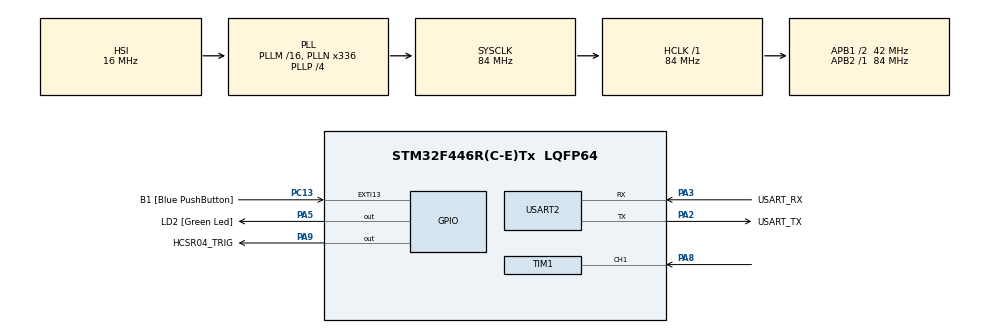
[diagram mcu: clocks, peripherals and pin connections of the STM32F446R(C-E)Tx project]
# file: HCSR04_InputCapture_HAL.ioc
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Mcu.Family=STM32F4
Mcu.Name=STM32F446R(C-E)Tx
Mcu.Package=LQFP64
NVIC.PriorityGroup=NVIC_PRIORITYGROUP_0
NVIC.TIM1_CC_IRQn=true\:0\:0\:false\:false\:true\:true\:true\:true
PA13.GPIO_Label=TMS
PA13.Mode=Serial_Wire
PA13.Signal=SYS_JTMS-SWDIO
PA14.GPIO_Label=TCK
PA14.Mode=Serial_Wire
PA14.Signal=SYS_JTCK-SWCLK
PA2.GPIO_Label=USART_TX
PA2.Mode=Asynchronous
PA2.Signal=USART2_TX
PA3.GPIO_Label=USART_RX
PA3.Mode=Asynchronous
PA3.Signal=USART2_RX
PA5.GPIO_Label=LD2 [Green Led]
PA5.Signal=GPIO_Output
PA8.Signal=S_TIM1_CH1
PA9.GPIO_Label=HCSR04_TRIG
PA9.Signal=GPIO_Output
PB3.GPIO_Label=SWO
PB3.Signal=SYS_JTDO-SWO
PC13.GPIO_Label=B1 [Blue PushButton]
PC13.GPIO_ModeDefaultEXTI=GPIO_MODE_IT_FALLING
PC13.Signal=GPXTI13
PC14-OSC32_IN.Mode=LSE-External-Oscillator
PC14-OSC32_IN.Signal=RCC_OSC32_IN
PC15-OSC32_OUT.Mode=LSE-External-Oscillator
PC15-OSC32_OUT.Signal=RCC_OSC32_OUT
PH0-OSC_IN.Mode=HSE-External-Oscillator
PH0-OSC_IN.Signal=RCC_OSC_IN
PH1-OSC_OUT.Mode=HSE-External-Oscillator
PH1-OSC_OUT.Signal=RCC_OSC_OUT
ProjectManager.HeapSize=0x200
ProjectManager.StackSize=0x400
ProjectManager.TargetToolchain=STM32CubeIDE
RCC.48MHZClocksFreq_Value=84000000
RCC.AHBFreq_Value=84000000
RCC.APB1CLKDivider=RCC_HCLK_DIV2
RCC.APB1Freq_Value=42000000
RCC.APB1TimFreq_Value=84000000
RCC.APB2Freq_Value=84000000
RCC.APB2TimFreq_Value=84000000
RCC.CortexFreq_Value=84000000
RCC.FLatency-AdvancedSettings=FLASH_LATENCY_2
RCC.HCLKFreq_Value=84000000
RCC.HSE_VALUE=8000000
RCC.HSI_VALUE=16000000
RCC.PLLN=336
RCC.PLLP=RCC_PLLP_DIV4
RCC.SYSCLKFreq_VALUE=84000000
RCC.SYSCLKSource=RCC_SYSCLKSOURCE_PLLCLK
RCC.USBFreq_Value=168000000
RCC.VCOOutputFreq_Value=336000000
SH.S_TIM1_CH1.0=TIM1_CH1,Input_Capture1_from_TI1
TIM1.Channel-Input_Capture1_from_TI1=TIM_CHANNEL_1
USART2.VirtualMode=VM_ASYNC
board=NUCLEO-F446RE

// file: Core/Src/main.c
/* USER CODE BEGIN Header */
/**
  *********************************************************************************************
  * @file           : main.c
  * @brief          : El proyecto mide distancia con un sensor ultrasónico HC-SR04 utilizando
  * TIM1 en modo Input Capture con interrupción. El pin TRIG se controla desde D8 / PA9,
  * mientras que la señal ECHO se mide en D7 / PA8 / TIM1_CH1.
  * El temporizador captura el instante del flanco de subida y luego el del flanco de bajada
  * de la señal ECHO. A partir de esa diferencia se calcula el ancho del pulso en microsegundos
  * y luego la distancia en centímetros.
  * El proyecto envía por USART2 el tiempo medido del pulso ECHO y la distancia calculada.
  * El objetivo didáctico es integrar GPIO, TIM Input Capture, interrupciones, medición temporal
  * por hardware y comunicación serie, mostrando cómo medir eventos externos con mayor precisión
  * que mediante polling.
  **********************************************************************************************
  * @attention
  *
  * Copyright (c) 2026 STMicroelectronics.
  * All rights reserved.
  *
  * This software is licensed under terms that can be found in the LICENSE file
  * in the root directory of this software component.
  * If no LICENSE file comes with this software, it is provided AS-IS.
  *
  ******************************************************************************
  */
/* USER CODE END Header */
#include "main.h"

/* USER CODE BEGIN Includes */
#include <stdio.h>
#include <string.h>
/* USER CODE END Includes */

/* USER CODE BEGIN PD */
#define HCSR04_TRIG_PORT       GPIOA
#define HCSR04_TRIG_PIN        GPIO_PIN_9   /* D8 / PA9 */

#define HCSR04_TIMEOUT_MS      60U
//#define UART_REPORT_PERIOD_MS  300U
#define HCSR04_MEASUREMENT_PERIOD_MS  1000U
#define TIM1_MAX_COUNT         65535UL
/* USER CODE END PD */

TIM_HandleTypeDef htim1;

UART_HandleTypeDef huart2;

/* USER CODE BEGIN PV */
static volatile uint8_t  hcsr04_capture_state = 0U;
static volatile uint8_t  hcsr04_measurement_done = 0U;

static volatile uint32_t hcsr04_rising_edge = 0U;
static volatile uint32_t hcsr04_falling_edge = 0U;
static volatile uint32_t hcsr04_pulse_us = 0U;
/* USER CODE END PV */

void SystemClock_Config(void);
static void MX_GPIO_Init(void);
static void MX_USART2_UART_Init(void);
static void MX_TIM1_Init(void);
/* USER CODE BEGIN PFP */
static void HCSR04_DelayUs(uint32_t us);
static void HCSR04_Trigger(void);
static uint8_t HCSR04_ReadDistance_IC(uint32_t *pulse_us, uint32_t *distance_x10_cm);
static void USART2_SendDistance(uint8_t valid, uint32_t pulse_us, uint32_t distance_x10_cm);
/* USER CODE END PFP */

/* USER CODE BEGIN 0 */
static void HCSR04_DelayUs(uint32_t us)
{
    uint32_t start_count;

    /*
     * TIM1 está configurado con:
     *
     * f_TIM1 = 84 MHz
     * PSC = 83
     *
     * Por lo tanto:
     * f_CNT = 1 MHz
     * 1 cuenta = 1 us
     */
    start_count = __HAL_TIM_GET_COUNTER(&htim1);

    while ((__HAL_TIM_GET_COUNTER(&htim1) - start_count) < us)
    {
        /* Espera activa */
    }
}

static void HCSR04_Trigger(void)
{
    /*
     * Reiniciar variables de medición.
     */
    hcsr04_capture_state = 0U;
    hcsr04_measurement_done = 0U;
    hcsr04_rising_edge = 0U;
    hcsr04_falling_edge = 0U;
    hcsr04_pulse_us = 0U;

    /*
     * Preparar TIM1_CH1 para capturar primero el flanco de subida.
     */
    __HAL_TIM_SET_CAPTUREPOLARITY(&htim1,
                                  TIM_CHANNEL_1,
                                  TIM_INPUTCHANNELPOLARITY_RISING);

    /*
     * Reiniciar contador antes de disparar el sensor.
     */
    __HAL_TIM_SET_COUNTER(&htim1, 0U);

    /*
     * Limpiar posible flag pendiente de captura.
     */
    __HAL_TIM_CLEAR_FLAG(&htim1, TIM_FLAG_CC1);

    /*
     * Generar pulso TRIG.
     *
     * El HC-SR04 requiere un pulso alto de al menos 10 us.
     */
    HAL_GPIO_WritePin(HCSR04_TRIG_PORT, HCSR04_TRIG_PIN, GPIO_PIN_RESET);
    HCSR04_DelayUs(2U);

    HAL_GPIO_WritePin(HCSR04_TRIG_PORT, HCSR04_TRIG_PIN, GPIO_PIN_SET);
    HCSR04_DelayUs(10U);

    HAL_GPIO_WritePin(HCSR04_TRIG_PORT, HCSR04_TRIG_PIN, GPIO_PIN_RESET);
}

static uint8_t HCSR04_ReadDistance_IC(uint32_t *pulse_us, uint32_t *distance_x10_cm)
{
    uint32_t start_tick;

    if ((pulse_us == NULL) || (distance_x10_cm == NULL))
    {
        return 0U;
    }

    /*
     * Disparar medición.
     */
    HCSR04_Trigger();

    start_tick = HAL_GetTick();

    /*
     * Esperar hasta que el Input Capture detecte:
     *
     * 1. Flanco de subida de ECHO.
     * 2. Flanco de bajada de ECHO.
     *
     * La medición termina cuando el callback coloca
     * hcsr04_measurement_done = 1.
     */
    while (hcsr04_measurement_done == 0U)
    {
        if ((HAL_GetTick() - start_tick) > HCSR04_TIMEOUT_MS)
        {
            /*
             * Timeout:
             * no llegó eco o el objeto está fuera de rango.
             */
            hcsr04_capture_state = 0U;

            __HAL_TIM_SET_CAPTUREPOLARITY(&htim1,
                                          TIM_CHANNEL_1,
                                          TIM_INPUTCHANNELPOLARITY_RISING);

            return 0U;
        }
    }

    *pulse_us = hcsr04_pulse_us;

    /*
     * Cálculo de distancia.
     *
     * Velocidad del sonido aproximada:
     * v = 343 m/s = 0,0343 cm/us
     *
     * El pulso ECHO representa ida y vuelta.
     *
     * distancia_cm = pulse_us * 0,0343 / 2
     * distancia_cm = pulse_us * 0,01715
     *
     * Para evitar float:
     *
     * distancia_x10_cm = distancia_cm * 10
     * distancia_x10_cm = pulse_us * 0,1715
     * distancia_x10_cm = pulse_us * 1715 / 10000
     *
     * Se suma 5000 para redondear.
     */
    *distance_x10_cm = (((*pulse_us) * 1715UL) + 5000UL) / 10000UL;

    return 1U;
}

void HAL_TIM_IC_CaptureCallback(TIM_HandleTypeDef *htim)
{
    uint32_t captured_value;

    if (htim->Instance == TIM1)
    {
        if (htim->Channel == HAL_TIM_ACTIVE_CHANNEL_1)
        {
            /*
             * Leer el valor capturado en TIM1_CCR1.
             */
            captured_value = HAL_TIM_ReadCapturedValue(htim, TIM_CHANNEL_1);

            /*
             * Estado 0:
             * se espera el flanco de subida de ECHO.
             */
            if (hcsr04_capture_state == 0U)
            {
                hcsr04_rising_edge = captured_value;
                hcsr04_capture_state = 1U;

                /*
                 * Una vez detectado el inicio del pulso,
                 * cambiamos la polaridad para capturar
                 * el flanco de bajada.
                 */
                __HAL_TIM_SET_CAPTUREPOLARITY(htim,
                                              TIM_CHANNEL_1,
                                              TIM_INPUTCHANNELPOLARITY_FALLING);
            }

            /*
             * Estado 1:
             * se espera el flanco de bajada de ECHO.
             */
            else if (hcsr04_capture_state == 1U)
            {
                hcsr04_falling_edge = captured_value;

                /*
                 * Calcular ancho del pulso ECHO.
                 *
                 * Caso normal:
                 * falling_edge >= rising_edge
                 *
                 * Caso con desborde:
                 * falling_edge < rising_edge
                 */
                if (hcsr04_falling_edge >= hcsr04_rising_edge)
                {
                    hcsr04_pulse_us = hcsr04_falling_edge - hcsr04_rising_edge;
                }
                else
                {
                    hcsr04_pulse_us = (TIM1_MAX_COUNT - hcsr04_rising_edge)
                                    + hcsr04_falling_edge
                                    + 1UL;
                }

                /*
                 * Marcar medición terminada.
                 */
                hcsr04_measurement_done = 1U;
                hcsr04_capture_state = 2U;

                /*
                 * Dejar el canal listo para la próxima medición:
                 * primero se capturará nuevamente flanco de subida.
                 */
                __HAL_TIM_SET_CAPTUREPOLARITY(htim,
                                              TIM_CHANNEL_1,
                                              TIM_INPUTCHANNELPOLARITY_RISING);
            }
        }
    }
}

static void USART2_SendDistance(uint8_t valid, uint32_t pulse_us, uint32_t distance_x10_cm)
{
    char tx_buffer[128];
    int len;

    if (valid != 0U)
    {
        len = snprintf(tx_buffer,
                       sizeof(tx_buffer),
                       "Echo=%5lu us | Distancia=%lu.%lu cm\r\n",
                       (unsigned long)pulse_us,
                       (unsigned long)(distance_x10_cm / 10UL),
                       (unsigned long)(distance_x10_cm % 10UL));
    }
    else
    {
        len = snprintf(tx_buffer,
                       sizeof(tx_buffer),
                       "Error: sin eco o fuera de rango\r\n");
    }

    if (len > 0)
    {
        HAL_UART_Transmit(&huart2,
                          (uint8_t *)tx_buffer,
                          (uint16_t)len,
                          HAL_MAX_DELAY);
    }
}
/* USER CODE END 0 */

int main(void)
{

  /* MCU Configuration--------------------------------------------------------*/

  /* Reset of all peripherals, Initializes the Flash interface and the Systick. */
  HAL_Init();

  /* Configure the system clock */
  SystemClock_Config();

  /* Initialize all configured peripherals */
  MX_GPIO_Init();
  MX_USART2_UART_Init();
  MX_TIM1_Init();
  /* USER CODE BEGIN 2 */
  /*
   * Iniciar TIM1 Channel 1 en modo Input Capture con interrupción.
   * ECHO está conectado a D7 / PA8 / TIM1_CH1.
   */
  HAL_TIM_IC_Start_IT(&htim1, TIM_CHANNEL_1);

  /*
   * Asegurar TRIG en bajo al inicio.
   * TRIG está conectado a D8 / PA9.
   */
  HAL_GPIO_WritePin(HCSR04_TRIG_PORT, HCSR04_TRIG_PIN, GPIO_PIN_RESET);
  /* USER CODE END 2 */

  /* Infinite loop */
  while (1)
  {

    /* USER CODE BEGIN 3 */
	 /* uint32_t pulse_us = 0U;
	  uint32_t distance_x10_cm = 0U;
	  uint8_t valid_measurement;

	  valid_measurement = HCSR04_ReadDistance_IC(&pulse_us, &distance_x10_cm);

	  USART2_SendDistance(valid_measurement, pulse_us, distance_x10_cm);

	  HAL_Delay(UART_REPORT_PERIOD_MS);*/

	  static uint32_t last_measurement_tick = 0U;
	      uint32_t current_tick = HAL_GetTick();

	      if ((current_tick - last_measurement_tick) >= HCSR04_MEASUREMENT_PERIOD_MS)
	      {
	          uint32_t pulse_us = 0U;
	          uint32_t distance_x10_cm = 0U;
	          uint8_t valid_measurement;

	          last_measurement_tick = current_tick;

	          valid_measurement = HCSR04_ReadDistance_IC(&pulse_us, &distance_x10_cm);

	          USART2_SendDistance(valid_measurement, pulse_us, distance_x10_cm);
	      }

  }
  /* USER CODE END 3 */
}

void SystemClock_Config(void)
{
  RCC_OscInitTypeDef RCC_OscInitStruct = {0};
  RCC_ClkInitTypeDef RCC_ClkInitStruct = {0};

  /** Configure the main internal regulator output voltage
  */
  __HAL_RCC_PWR_CLK_ENABLE();
  __HAL_PWR_VOLTAGESCALING_CONFIG(PWR_REGULATOR_VOLTAGE_SCALE3);

  /** Initializes the RCC Oscillators according to the specified parameters
  * in the RCC_OscInitTypeDef structure.
  */
  RCC_OscInitStruct.OscillatorType = RCC_OSCILLATORTYPE_HSI;
  RCC_OscInitStruct.HSIState = RCC_HSI_ON;
  RCC_OscInitStruct.HSICalibrationValue = RCC_HSICALIBRATION_DEFAULT;
  RCC_OscInitStruct.PLL.PLLState = RCC_PLL_ON;
  RCC_OscInitStruct.PLL.PLLSource = RCC_PLLSOURCE_HSI;
  RCC_OscInitStruct.PLL.PLLM = 16;
  RCC_OscInitStruct.PLL.PLLN = 336;
  RCC_OscInitStruct.PLL.PLLP = RCC_PLLP_DIV4;
  RCC_OscInitStruct.PLL.PLLQ = 2;
  RCC_OscInitStruct.PLL.PLLR = 2;
  if (HAL_RCC_OscConfig(&RCC_OscInitStruct) != HAL_OK)
  {
    Error_Handler();
  }

  /** Initializes the CPU, AHB and APB buses clocks
  */
  RCC_ClkInitStruct.ClockType = RCC_CLOCKTYPE_HCLK|RCC_CLOCKTYPE_SYSCLK
                              |RCC_CLOCKTYPE_PCLK1|RCC_CLOCKTYPE_PCLK2;
  RCC_ClkInitStruct.SYSCLKSource = RCC_SYSCLKSOURCE_PLLCLK;
  RCC_ClkInitStruct.AHBCLKDivider = RCC_SYSCLK_DIV1;
  RCC_ClkInitStruct.APB1CLKDivider = RCC_HCLK_DIV2;
  RCC_ClkInitStruct.APB2CLKDivider = RCC_HCLK_DIV1;

  if (HAL_RCC_ClockConfig(&RCC_ClkInitStruct, FLASH_LATENCY_2) != HAL_OK)
  {
    Error_Handler();
  }
}

static void MX_TIM1_Init(void)
{

  TIM_MasterConfigTypeDef sMasterConfig = {0};
  TIM_IC_InitTypeDef sConfigIC = {0};

  htim1.Instance = TIM1;
  htim1.Init.Prescaler = 83;
  htim1.Init.CounterMode = TIM_COUNTERMODE_UP;
  htim1.Init.Period = 65535;
  htim1.Init.ClockDivision = TIM_CLOCKDIVISION_DIV1;
  htim1.Init.RepetitionCounter = 0;
  htim1.Init.AutoReloadPreload = TIM_AUTORELOAD_PRELOAD_DISABLE;
  if (HAL_TIM_IC_Init(&htim1) != HAL_OK)
  {
    Error_Handler();
  }
  sMasterConfig.MasterOutputTrigger = TIM_TRGO_RESET;
  sMasterConfig.MasterSlaveMode = TIM_MASTERSLAVEMODE_DISABLE;
  if (HAL_TIMEx_MasterConfigSynchronization(&htim1, &sMasterConfig) != HAL_OK)
  {
    Error_Handler();
  }
  sConfigIC.ICPolarity = TIM_INPUTCHANNELPOLARITY_RISING;
  sConfigIC.ICSelection = TIM_ICSELECTION_DIRECTTI;
  sConfigIC.ICPrescaler = TIM_ICPSC_DIV1;
  sConfigIC.ICFilter = 0;
  if (HAL_TIM_IC_ConfigChannel(&htim1, &sConfigIC, TIM_CHANNEL_1) != HAL_OK)
  {
    Error_Handler();
  }

}

static void MX_USART2_UART_Init(void)
{

  huart2.Instance = USART2;
  huart2.Init.BaudRate = 115200;
  huart2.Init.WordLength = UART_WORDLENGTH_8B;
  huart2.Init.StopBits = UART_STOPBITS_1;
  huart2.Init.Parity = UART_PARITY_NONE;
  huart2.Init.Mode = UART_MODE_TX_RX;
  huart2.Init.HwFlowCtl = UART_HWCONTROL_NONE;
  huart2.Init.OverSampling = UART_OVERSAMPLING_16;
  if (HAL_UART_Init(&huart2) != HAL_OK)
  {
    Error_Handler();
  }

}

static void MX_GPIO_Init(void)
{
  GPIO_InitTypeDef GPIO_InitStruct = {0};

  /* GPIO Ports Clock Enable */
  __HAL_RCC_GPIOC_CLK_ENABLE();
  __HAL_RCC_GPIOH_CLK_ENABLE();
  __HAL_RCC_GPIOA_CLK_ENABLE();
  __HAL_RCC_GPIOB_CLK_ENABLE();

  /*Configure GPIO pin Output Level */
  HAL_GPIO_WritePin(GPIOA, LD2_Pin|HCSR04_TRIG_Pin, GPIO_PIN_RESET);

  /*Configure GPIO pin : B1_Pin */
  GPIO_InitStruct.Pin = B1_Pin;
  GPIO_InitStruct.Mode = GPIO_MODE_IT_FALLING;
  GPIO_InitStruct.Pull = GPIO_NOPULL;
  HAL_GPIO_Init(B1_GPIO_Port, &GPIO_InitStruct);

  /*Configure GPIO pins : LD2_Pin HCSR04_TRIG_Pin */
  GPIO_InitStruct.Pin = LD2_Pin|HCSR04_TRIG_Pin;
  GPIO_InitStruct.Mode = GPIO_MODE_OUTPUT_PP;
  GPIO_InitStruct.Pull = GPIO_NOPULL;
  GPIO_InitStruct.Speed = GPIO_SPEED_FREQ_LOW;
  HAL_GPIO_Init(GPIOA, &GPIO_InitStruct);

}

void Error_Handler(void)
{
  __disable_irq();
  while (1)
  {
  }
}
